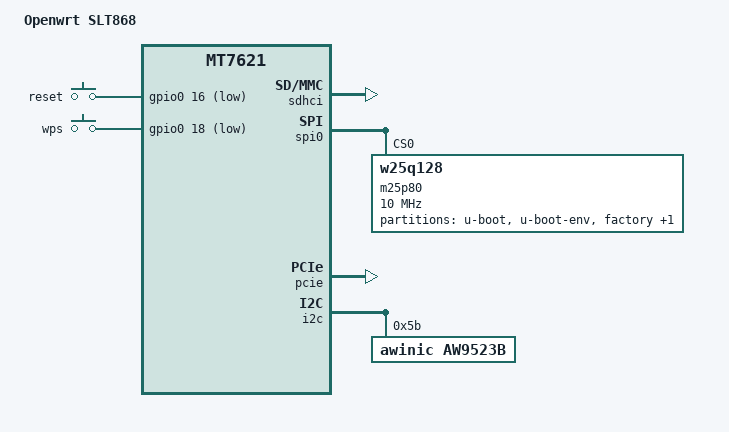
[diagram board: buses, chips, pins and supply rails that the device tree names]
/dts-v1/;

#include "mt7621.dtsi"
#include <dt-bindings/input/input.h>
#include <dt-bindings/gpio/gpio.h>

/ {
	compatible = "mediatek,mt7621-eval-board", "mediatek,mt7621-soc";
	model = "Openwrt SLT868";

	chosen {
		bootargs = "console=ttyS0,57600";
	};

	gpio-keys-polled {
		compatible = "gpio-keys-polled";
		#address-cells = <1>;
		#size-cells = <0>;
		poll-interval = <20>;

		reset {
			label = "reset";
			gpios = <&gpio0 16 GPIO_ACTIVE_LOW>;
			linux,code = <KEY_RESTART>;
		};

		wps {
			label = "wps";
			gpios = <&gpio0 18 GPIO_ACTIVE_LOW>;
			linux,code = <KEY_WPS_BUTTON>;
		};
	};
};

&sdhci {
	status = "okay";
};

&spi0 {
	status = "okay";

	m25p80@0 {
		#address-cells = <1>;
		#size-cells = <1>;
		compatible = "w25q128";
		reg = <0>;
		linux,modalias = "m25p80";
		spi-max-frequency = <10000000>;
		m25p,chunked-io = <32>;

		partition@0 {
			label = "u-boot";
			reg = <0x0 0x30000>;
			read-only;
		};

		partition@30000 {
			label = "u-boot-env";
			reg = <0x30000 0x10000>;
		};

		factory: partition@40000 {
			label = "factory";
			reg = <0x40000 0x10000>;
		};

		partition@50000 {
			label = "firmware";
			reg = <0x50000 0xfb0000>;
		};
	};
};

&pcie {
	status = "okay";

	pcie0 {
		mt76@0,0 {
			reg = <0x0000 0 0 0 0>;
			device_type = "pci";
			mediatek,mtd-eeprom = <&factory 0x8000>;
			mediatek,2ghz = <0>;
		};
	};

	pcie1 {
		mt76@1,0 {
			reg = <0x0000 0 0 0 0>;
			device_type = "pci";
			mediatek,mtd-eeprom = <&factory 0x0000>;
			mediatek,5ghz = <0>;
		};
	};
};

&ethernet {
	mtd-mac-address = <&factory 0xe000>;
};

&i2c {
        status = "okay";
	aw9523b@5b {
		compatible = "awinic,aw9523b";
		reg = <0x5b>;

		aw9523b,LTE1_SS1 {
			aw9523b,name = "LTE1_SS1";
			aw9523b,id = <8>;
			aw9523b,max-brightness = <255>;
		};
		aw9523b,LTE1_SS2 {
			aw9523b,name = "LTE1_SS2";
			aw9523b,id = <9>;
			aw9523b,max-brightness = <255>;
		};
		aw9523b,LTE1_SS3 {
			aw9523b,name = "LTE1_SS3";
			aw9523b,id = <10>;
			aw9523b,max-brightness = <255>;
		};
		aw9523b,LTE1_SS4 {
			aw9523b,name = "LTE1_SS4";
			aw9523b,id = <11>;
			aw9523b,max-brightness = <255>;
		};
		aw9523b,LTE1_SS5 {
			aw9523b,name = "LTE1_SS5";
			aw9523b,id = <0>;
			aw9523b,max-brightness = <255>;
		};
		aw9523b,WPS_LED {
			aw9523b,name = "WPS_LED";
			aw9523b,id = <5>;
			aw9523b,max-brightness = <255>;
		};
		aw9523b,WIFI_LED {
			aw9523b,name = "WIFI_LED";
			aw9523b,id = <6>;
			aw9523b,max-brightness = <255>;
		};
		aw9523b,LAN_LED {
			aw9523b,name = "LAN_LED";
			aw9523b,id = <7>;
			aw9523b,max-brightness = <255>;
		};
		aw9523b,WAN_LED {
			aw9523b,name = "WAN_LED";
			aw9523b,id = <12>;
			aw9523b,max-brightness = <255>;
		};
		aw9523b,internet1 {
			aw9523b,name = "internet1";
			aw9523b,id = <13>;
			aw9523b,max-brightness = <255>;
		};
		aw9523b,internet {
			aw9523b,name = "internet";
			aw9523b,id = <14>;
			aw9523b,max-brightness = <255>;
		};
	};
};

&pinctrl {
	state_default: pinctrl0 {
		gpio {
			ralink,group = "wdt", "rgmii2";
			ralink,function = "gpio";
		};
	};
};
